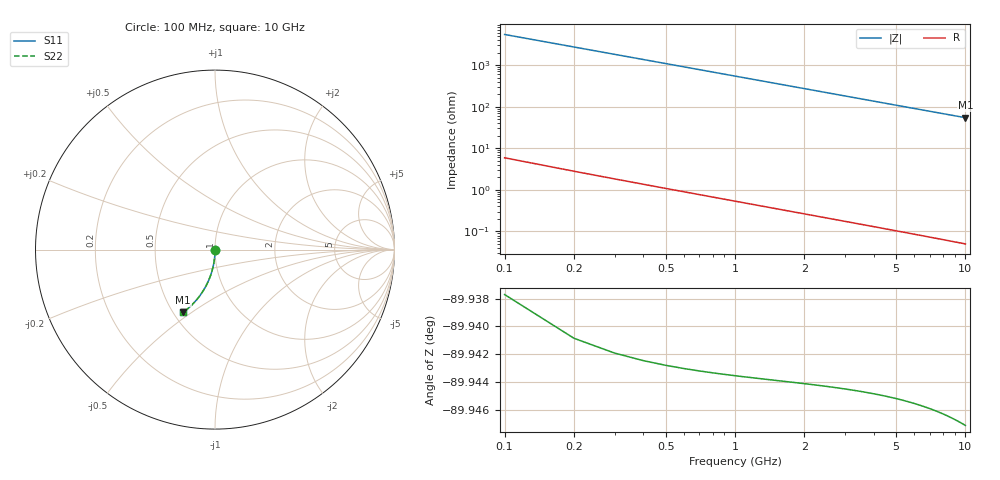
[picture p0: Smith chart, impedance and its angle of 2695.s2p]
# Hz S RI R 50.00
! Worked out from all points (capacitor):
!   100 points, 100 MHz to 10 GHz, reference 50 ohm
!   read as one part in shunt: C = 293 fF near 100 MHz
!   lowest |Z| = 54.4 ohm at 10 GHz (marker M1)
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1e8  0.000107 -0.00427  0.9998 -0.00493  0.9998 -0.00493  0.000107 -0.00427
2e8  3.98e-05 -0.00855  0.9998 -0.00985  0.9998 -0.00985  3.98e-05 -0.00855
3e8  -6.93e-05 -0.0128  0.9997 -0.0148  0.9997 -0.0148  -6.93e-05 -0.0128
4e8  -0.000221 -0.0171  0.9995 -0.0197  0.9995 -0.0197  -0.000221 -0.0171
5e8  -0.000414 -0.0214  0.9993 -0.0246  0.9993 -0.0246  -0.000414 -0.0214
6e8  -0.00065 -0.0256  0.9991 -0.0295  0.9991 -0.0295  -0.00065 -0.0256
7e8  -0.000927 -0.0299  0.9988 -0.0345  0.9988 -0.0345  -0.000927 -0.0299
8e8  -0.00125 -0.0342  0.9985 -0.0394  0.9985 -0.0394  -0.00125 -0.0342
9e8  -0.00161 -0.0384  0.9981 -0.0443  0.9981 -0.0443  -0.00161 -0.0384
1.1e9  -0.00246 -0.0469  0.9972 -0.0541  0.9972 -0.0541  -0.00246 -0.0469
1.4e9  -0.00404 -0.0596  0.9956 -0.0688  0.9956 -0.0688  -0.00404 -0.0596
1.8e9  -0.00673 -0.0764  0.9929 -0.0882  0.9929 -0.0882  -0.00673 -0.0764
2.1e9  -0.00918 -0.089  0.9904 -0.1027  0.9904 -0.1027  -0.00918 -0.089
2.5e9  -0.013 -0.1055  0.9866 -0.1219  0.9866 -0.1219  -0.013 -0.1055
2.9e9  -0.0175 -0.1219  0.9821 -0.1408  0.9821 -0.1408  -0.0175 -0.1219
3.4e9  -0.0239 -0.1419  0.9756 -0.1642  0.9756 -0.1642  -0.0239 -0.1419
4.2e9  -0.0361 -0.1731  0.9632 -0.2007  0.9632 -0.2007  -0.0361 -0.1731
5.1e9  -0.0525 -0.2066  0.9466 -0.2401  0.9466 -0.2401  -0.0525 -0.2066
5.9e9  -0.0692 -0.2348  0.9298 -0.2736  0.9298 -0.2736  -0.0692 -0.2348
6.7e9  -0.0877 -0.2612  0.911 -0.3053  0.911 -0.3053  -0.0877 -0.2612
8.4e9  -0.1319 -0.3111  0.8663 -0.3666  0.8663 -0.3666  -0.1319 -0.3111
1e10  -0.178 -0.3499  0.8195 -0.4162  0.8195 -0.4162  -0.178 -0.3499
